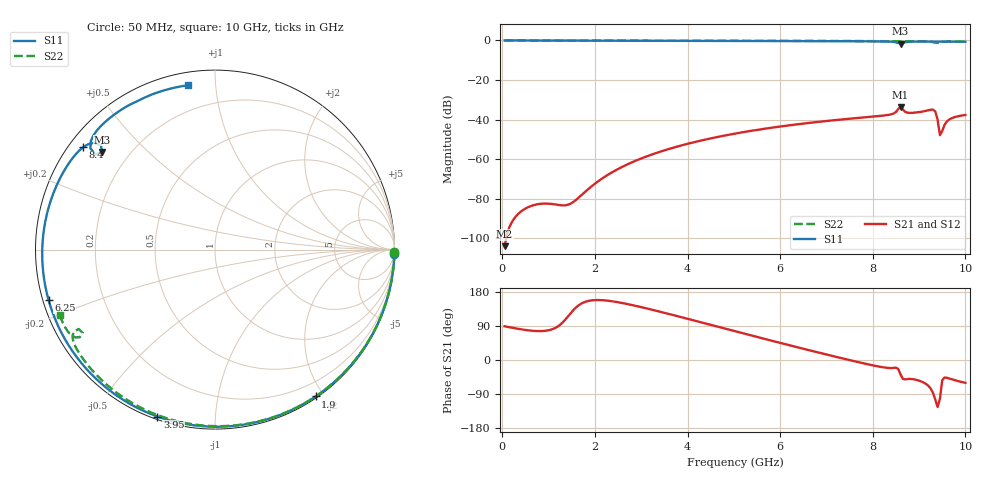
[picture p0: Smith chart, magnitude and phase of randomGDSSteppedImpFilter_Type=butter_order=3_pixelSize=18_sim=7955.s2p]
! freq	dB(S11)	phase(S11)	dB(S12)	phase(S12)
!  dB(S21)	phase(S21)	dB(S22)	phase(S22)
!S-par simulation data
#  GHz  S  DB  R 50
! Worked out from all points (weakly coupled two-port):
!   200 points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, 50 MHz to 10 GHz, reference 50 ohm
!   highest |S21| = -33.74 dB at 8.6 GHz (marker M1); lowest = -104.0 dB at 50 MHz (marker M2)
!   lowest |S11| = -1.6 dB at 8.6 GHz (marker M3), VSWR 10.88, Z = 5.22 + j18.4 ohm
!   |S11| at or under -10 dB: nowhere
!   |S22| runs from -1.2 to 0.0 dB; largest |S21 - S12| = 0
!   S11 on the Smith chart (normalised r, x): 50 MHz: 0, -75; 1.9 GHz: 0.02, -1.90; 3.95 GHz: 0.01, -0.71; 6.25 GHz: 0.02, -0.15; 8.4 GHz: 0.04, +0.34; 10 GHz: 0.06, +0.84
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0.05  -0.00 -1.5  -104.01 88.9  -104.01 88.9  -0.00 -0.9
0.8  -0.03 -23.9  -82.67 76.2  -82.67 76.2  -0.02 -14.4
1.6  -0.06 -47.1  -80.46 139.6  -80.46 139.6  -0.04 -28.6
1.75  -0.06 -51.3  -77.34 151.5  -77.34 151.5  -0.04 -31.2
1.9  -0.07 -55.5  -74.29 156.8  -74.29 156.8  -0.04 -33.8
2.55  -0.09 -73.3  -64.38 151.3  -64.38 151.3  -0.06 -45.0
3.4  -0.12 -95.4  -56.31 127.6  -56.31 127.6  -0.08 -59.2
3.95  -0.14 -109.0  -52.56 110.4  -52.56 110.4  -0.09 -68.2
5.05  -0.20 -135.2  -47.00 75.2  -47.00 75.2  -0.13 -85.5
6.25  -0.27 -163.1  -42.75 37.4  -42.75 37.4  -0.19 -103.6
6.7  -0.31 -173.7  -41.48 23.5  -41.48 23.5  -0.22 -110.2
7.6  -0.39 164.5  -39.35 -3.2  -39.35 -3.2  -0.28 -123.3
8.35  -0.57 143.9  -37.59 -21.1  -37.59 -21.1  -0.35 -134.2
8.4  -0.63 142.2  -37.34 -21.2  -37.34 -21.2  -0.36 -134.9
8.6  -1.60 139.2  -33.74 -38.1  -33.74 -38.1  -0.38 -137.9
8.8  -0.64 136.8  -36.63 -49.9  -36.63 -49.9  -0.41 -140.9
9.3  -0.57 120.8  -34.96 -86.5  -34.96 -86.5  -0.85 -149.9
9.35  -0.58 119.3  -35.90 -104.8  -35.90 -104.8  -1.12 -149.8
9.4  -0.60 117.8  -40.07 -124.1  -40.07 -124.1  -1.20 -147.8
9.45  -0.60 116.4  -47.89 -102.7  -47.89 -102.7  -0.94 -147.1
9.65  -0.61 110.3  -39.99 -48.8  -39.99 -48.8  -0.55 -151.0
10  -0.65 99.5  -37.69 -60.2  -37.69 -60.2  -0.54 -157.0
